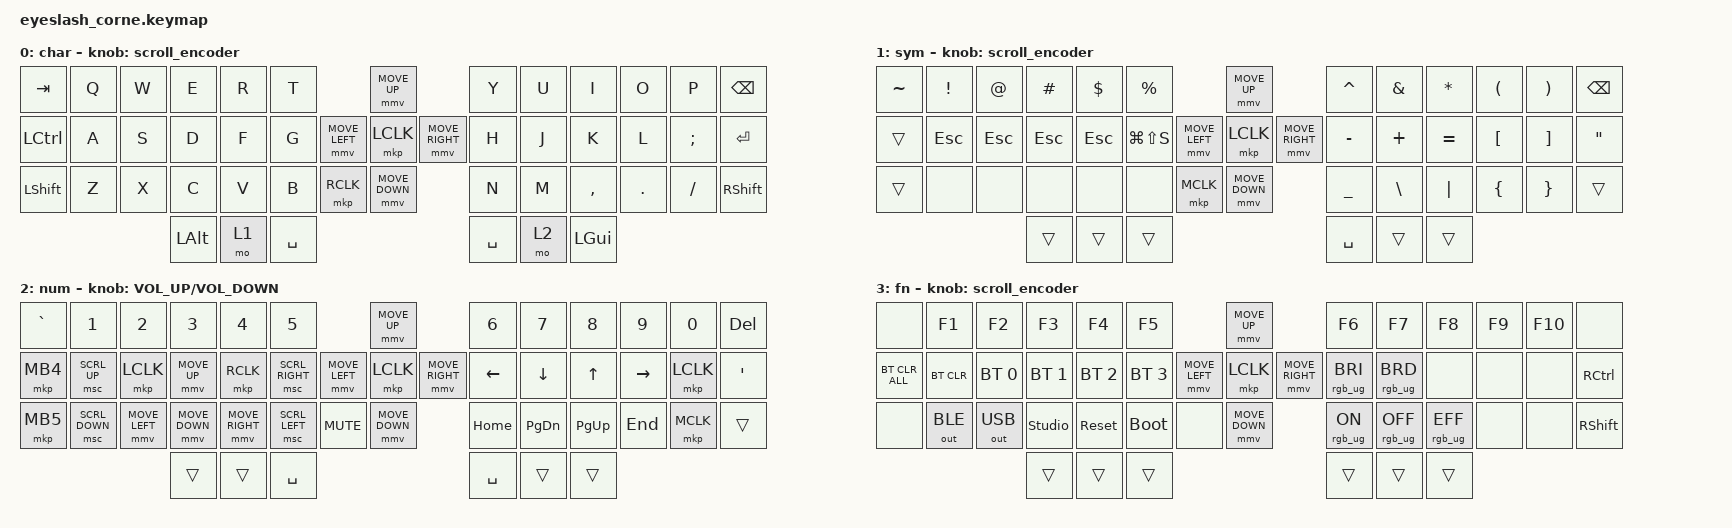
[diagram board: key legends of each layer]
#define ZMK_POINTING_DEFAULT_MOVE_VAL 1200  // 600
#define ZMK_POINTING_DEFAULT_SCRL_VAL 45   // 10

#include <input/processors.dtsi>
#include <zephyr/dt-bindings/input/input-event-codes.h>
#include <behaviors.dtsi>
#include <dt-bindings/zmk/bt.h>
#include <dt-bindings/zmk/ext_power.h>
#include <dt-bindings/zmk/keys.h>
#include <dt-bindings/zmk/pointing.h>
#include <dt-bindings/zmk/outputs.h>
#include <dt-bindings/zmk/rgb.h>

&mmv_input_listener { input-processors = <&zip_xy_scaler 2 1>; };

&msc_input_listener { input-processors = <&zip_scroll_scaler 2 1>; };

&msc {
    acceleration-exponent = <0>;      // 0
    time-to-max-speed-ms = <0>;       // 300
    delay-ms = <0>;                   // 0
};

&mmv {
    time-to-max-speed-ms = <500>;
    acceleration-exponent = <1>;
    trigger-period-ms = <16>;
};


/ {
    behaviors {
        td0: td0 {
            compatible = "zmk,behavior-tap-dance";
            display-name = "Shift/Caps Lock Tap Dance";
            #binding-cells = <0>;
            bindings = <&kp LEFT_SHIFT>, <&kp CAPS>;
        };
    };

    rgb_encoder: rgb_encoder {
        compatible = "zmk,behavior-sensor-rotate";
        #sensor-binding-cells = <0>;
        bindings = <&rgb_ug RGB_BRI>, <&rgb_ug RGB_BRD>;
    };

    scroll_encoder: scroll_encoder {
        compatible = "zmk,behavior-sensor-rotate";
        #sensor-binding-cells = <0>;
        bindings = <&msc SCRL_DOWN>, <&msc SCRL_UP>;
        tap-ms = <40>;
    };

    keymap {
        compatible = "zmk,keymap";

        default_layer {
            display-name = "char";
            bindings = <
&kp TAB    &kp Q  &kp W  &kp E     &kp R  &kp T                        &mmv MOVE_UP                &kp Y        &kp U  &kp I      &kp O    &kp P     &kp BSPC
&kp LCTRL  &kp A  &kp S  &kp D     &kp F  &kp G        &mmv MOVE_LEFT  &mkp LCLK  &mmv MOVE_RIGHT  &kp H        &kp J  &kp K      &kp L    &kp SEMI  &kp ENTER
&kp LSHFT  &kp Z  &kp X  &kp C     &kp V  &kp B        &mkp RCLK       &mmv MOVE_DOWN              &kp N        &kp M  &kp COMMA  &kp DOT  &kp FSLH  &kp RSHFT
                         &kp LALT  &mo 1  &kp SPACE                                                &kp SPACE    &mo 2  &kp LGUI
            >;
             sensor-bindings = <&scroll_encoder>;
        };

        lower_layer {
            display-name = "sym";
            bindings = <
&kp TILDE &kp EXCL  &kp AT    &kp HASH    &kp DLLR     &kp PRCNT                        &mmv MOVE_UP                     &kp CARET    &kp AMPS    &kp ASTRK  &kp LPAR   &kp RPAR   &kp BSPC
&trans    &kp ESC   &kp ESC   &kp ESC     &kp ESC      &kp LG(LS(S))    &mmv MOVE_LEFT  &mkp LCLK       &mmv MOVE_RIGHT  &kp MINUS    &kp PLUS    &kp EQUAL  &kp LBKT   &kp RBKT   &kp DQT
&trans    &none     &none     &none       &none        &none            &mkp MCLK       &mmv MOVE_DOWN                   &kp UNDER    &kp BSLH    &kp PIPE   &kp LBRC   &kp RBRC   &trans
                              &trans      &trans       &trans                                                            &kp SPACE    &trans      &trans
            >;             
            sensor-bindings = <&scroll_encoder>;
            /*LG(LS(S))  := Win(= LGUI) + Shift(= LSHIFT) + S */
        };

        raise_layer {
            display-name = "num";
            bindings = <

&kp GRAVE  &kp N1         &kp N2         &kp N3           &kp N4             &kp N5                            &mmv MOVE_UP                 &kp N6     &kp N7     &kp N8    &kp N9     &kp N0     &kp DEL
&mkp MB4   &msc SCRL_UP   &mkp LCLK      &mmv MOVE_UP     &mkp RCLK          &msc SCRL_RIGHT   &mmv MOVE_LEFT  &mkp LCLK   &mmv MOVE_RIGHT  &kp LEFT   &kp DOWN   &kp UP    &kp RIGHT  &mkp LCLK  &kp SQT
&mkp MB5   &msc SCRL_DOWN &mmv MOVE_LEFT &mmv MOVE_DOWN   &mmv MOVE_RIGHT    &msc SCRL_LEFT    &kp C_MUTE      &mmv MOVE_DOWN               &kp HOME   &kp PG_DN  &kp PG_UP &kp END    &mkp MCLK  &trans
                                  &trans           &trans             &kp SPACE                                                 &kp SPACE  &trans     &trans
            >;

            sensor-bindings = <&inc_dec_kp C_VOLUME_UP C_VOLUME_DOWN>;
        };

        layer_3 {
            display-name = "fn";
            bindings = <
&none           &kp F1        &kp F2        &kp F3         &kp F4          &kp F5                         &mmv MOVE_UP                  &kp F6          &kp F7            &kp F8           &kp F9       &kp F10    &none
&bt BT_CLR_ALL  &bt BT_CLR    &bt BT_SEL 0  &bt BT_SEL 1   &bt BT_SEL 2    &bt BT_SEL 3   &mmv MOVE_LEFT  &mkp LCLK  &mmv MOVE_RIGHT    &rgb_ug RGB_BRI &rgb_ug RGB_BRD   &none            &none        &none      &kp RCTRL
&none           &out OUT_BLE  &out OUT_USB  &studio_unlock &sys_reset      &bootloader    &none           &mmv MOVE_DOWN                &rgb_ug RGB_ON  &rgb_ug RGB_OFF   &rgb_ug RGB_EFF  &none        &none      &kp RSHFT
                                            &trans         &trans          &trans                                                       &trans          &trans            &trans
            >;

            sensor-bindings = <&scroll_encoder>;
        };
    };

    combos {
        compatible = "zmk,combos";
        #address-cells = <1>;
        #size-cells    = <0>;

        /* MO(1) + MO(2)  →  MO(3)   (두 키 다 떼면 자동으로 레이어 3 해제) */
        combo_layer3 {
            timeout-ms = <100>;                 /* 동시에 눌렀다고 간주할 최대 지연 */
            key-positions = < 43 46 >;         /* ← ❶ 각 키의 row/col 인덱스 입력 */
            bindings = <&mo 3>;                /* ❷ 원하는 목적 레이어 번호 */
        };
    };

};
